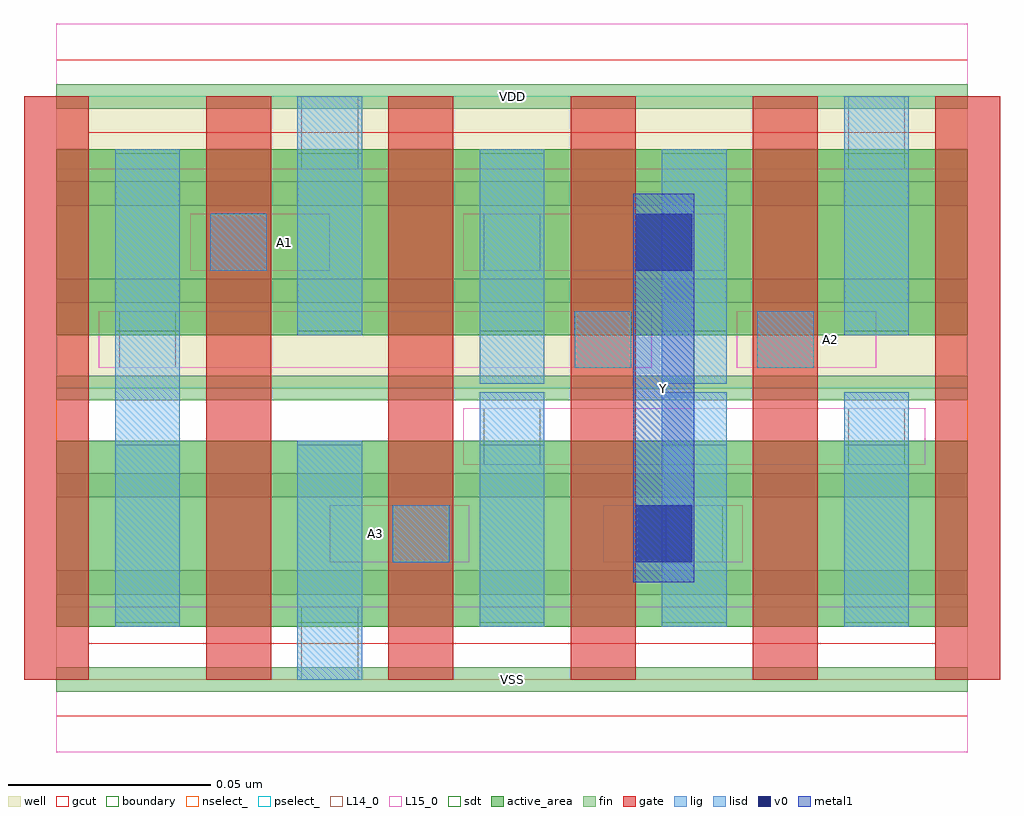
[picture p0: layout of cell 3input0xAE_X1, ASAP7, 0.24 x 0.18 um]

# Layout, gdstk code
import gdstk
lib = gdstk.Library(unit=1e-6, precision=2.5e-10)
def R(c, l, rs):  # rectangles x0, y0, x1, y1
    for r in rs: c.add(gdstk.rectangle(r[:2], r[2:], *l))
def A(c, l, x, y, w, h, nx, ny, dx, dy):  # array of equal rectangles
    R(c, l, [(x+i*dx, y+j*dy, x+i*dx+w, y+j*dy+h) for i in range(nx) for j in range(ny)])
def P(c, l, *ps):  # polygons
    for p in ps: c.add(gdstk.Polygon(p, *l))
well = (1, 0)
fin = (2, 0)
gate = (7, 0)
gcut = (10, 0)
active_area = (11, 0)
nselect_ = (12, 0)
pselect_ = (13, 0)
L14_0 = (14, 0)
L15_0 = (15, 0)
lig = (16, 0)
lisd = (17, 0)
v0 = (18, 0)
metal1 = (19, 0)
sdt = (88, 0)
boundary = (100, 0)

c_3input0xae_x1 = lib.new_cell('3input0xAE_X1')
R(c_3input0xae_x1, well, [(0,0.072,0.225,0.144)])
A(c_3input0xae_x1, fin, 0, -0.003, 0.225, 0.006, 1, 7, 0, 0.024)
A(c_3input0xae_x1, gate, -0.008, 0, 0.016, 0.144, 6, 1, 0.045, 0)
P(c_3input0xae_x1, gcut, [(0,-0.009),(0,0),(-0.008,0),(-0.008,0.135),(0.008,0.135),(0.008,0.009),(0.217,0.009),(0.217,0.135),(-0.008,0.135),(-0.008,0.144),(0,0.144),(0,0.153),(0.225,0.153),(0.225,0.144),(0.233,0.144),(0.233,0),(0.225,0),(0.225,-0.009)])
R(c_3input0xae_x1, active_area, [(0,0.013,0.225,0.059), (0,0.085,0.225,0.131)])
R(c_3input0xae_x1, nselect_, [(0,0,0.225,0.072)])
R(c_3input0xae_x1, pselect_, [(0,0.072,0.225,0.144)])
R(c_3input0xae_x1, L14_0, [(0.0605,0,0.0745,0.018), (0.083,0.029,0.097,0.043), (0.1505,0.029,0.1645,0.043), (0.1055,0.053,0.1195,0.067), (0.1955,0.053,0.2095,0.067), (0.0155,0.077,0.0295,0.091), (0.128,0.077,0.142,0.091), (0.173,0.077,0.187,0.091), (0.038,0.101,0.052,0.115), (0.1055,0.101,0.1195,0.115), (0.0605,0.126,0.0745,0.144), (0.1955,0.126,0.2095,0.144)])
R(c_3input0xae_x1, L15_0, [(0,-0.018,0.225,0.018), (0.0675,0.029,0.102,0.043), (0.135,0.029,0.1695,0.043), (0.1005,0.053,0.2145,0.067), (0.0105,0.077,0.147,0.091), (0.168,0.077,0.2025,0.091), (0.033,0.101,0.0675,0.115), (0.1005,0.101,0.165,0.115), (0,0.126,0.225,0.162)])
R(c_3input0xae_x1, lig, [(0.083,0.029,0.097,0.043), (0.128,0.077,0.142,0.091), (0.173,0.077,0.187,0.091), (0.038,0.101,0.052,0.115)])
A(c_3input0xae_x1, lisd, 0.1045, 0.013, 0.016, 0.058, 3, 1, 0.045, 0)
R(c_3input0xae_x1, lisd, [(0.0595,0,0.0755,0.059), (0.0145,0.013,0.0305,0.131), (0.1045,0.073,0.1205,0.131), (0.1495,0.073,0.1655,0.131), (0.0595,0.085,0.0755,0.144), (0.1945,0.085,0.2105,0.144)])
R(c_3input0xae_x1, v0, [(0.143,0.029,0.157,0.043), (0.143,0.101,0.157,0.115)])
R(c_3input0xae_x1, metal1, [(0.1425,0.024,0.1575,0.12)])
A(c_3input0xae_x1, sdt, 0.0145, 0.014, 0.016, 0.044, 5, 2, 0.045, 0.072)
R(c_3input0xae_x1, boundary, [(0,0,0.225,0.144)])
c_3input0xae_x1.add(gdstk.Label('A2', (0.1913,0.084), layer=15, texttype=251))
c_3input0xae_x1.add(gdstk.Label('VSS', (0.1125,0), layer=15, texttype=251))
c_3input0xae_x1.add(gdstk.Label('VDD', (0.1125,0.144), layer=15, texttype=251))
c_3input0xae_x1.add(gdstk.Label('VSS', (0.1125,0), layer=15, texttype=251))
c_3input0xae_x1.add(gdstk.Label('VDD', (0.1125,0.144), layer=15, texttype=251))
c_3input0xae_x1.add(gdstk.Label('A3', (0.0788,0.036), layer=15, texttype=251))
c_3input0xae_x1.add(gdstk.Label('VSS', (0.1125,0), layer=15, texttype=251))
c_3input0xae_x1.add(gdstk.Label('VDD', (0.1125,0.144), layer=15, texttype=251))
c_3input0xae_x1.add(gdstk.Label('A1', (0.0563,0.108), layer=15, texttype=251))
c_3input0xae_x1.add(gdstk.Label('VSS', (0.1125,0), layer=15, texttype=251))
c_3input0xae_x1.add(gdstk.Label('VDD', (0.1125,0.144), layer=15, texttype=251))
c_3input0xae_x1.add(gdstk.Label('VSS', (0.1125,0), layer=3, texttype=251))
c_3input0xae_x1.add(gdstk.Label('VSS', (0.1125,0), layer=3, texttype=251))
c_3input0xae_x1.add(gdstk.Label('VSS', (0.1125,0), layer=3, texttype=251))
c_3input0xae_x1.add(gdstk.Label('VSS', (0.1125,0), layer=3, texttype=251))
c_3input0xae_x1.add(gdstk.Label('VDD', (0.1125,0.144), layer=1, texttype=251))
c_3input0xae_x1.add(gdstk.Label('VDD', (0.1125,0.144), layer=1, texttype=251))
c_3input0xae_x1.add(gdstk.Label('VDD', (0.1125,0.144), layer=1, texttype=251))
c_3input0xae_x1.add(gdstk.Label('VDD', (0.1125,0.144), layer=1, texttype=251))
c_3input0xae_x1.add(gdstk.Label('Y', (0.15,0.072), layer=19, texttype=251))

lib.write_gds('3input0xAE_X1.gds')
